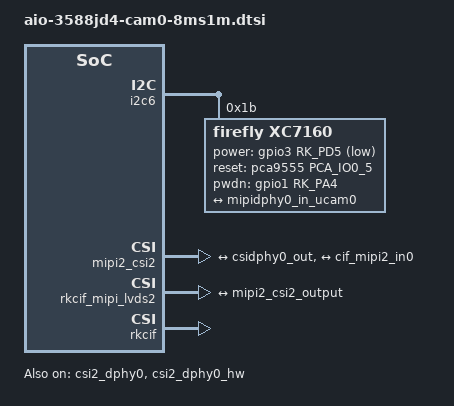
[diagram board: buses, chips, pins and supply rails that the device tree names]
// SPDX-License-Identifier: (GPL-2.0+ OR MIT)
/*
 * Copyright (c) 2021 Rockchip Electronics Co., Ltd.
 *
 */

&i2c6 {
	status = "okay";

        XC7160: XC7160b@1b{
               compatible = "firefly,xc7160";
               reg = <0x1b>;
               clocks = <&cru CLK_MIPI_CAMARAOUT_M1>;
               clock-names = "xvclk";
               pinctrl-names = "default";
               pinctrl-0 = <&mipim1_camera1_clk>;
               power-domains = <&power RK3588_PD_VI>;

               power-gpios = <&gpio3 RK_PD5 GPIO_ACTIVE_LOW>;
               reset-gpios = <&pca9555 PCA_IO0_5 GPIO_ACTIVE_HIGH>;
               pwdn-gpios = <&gpio1 RK_PA4 GPIO_ACTIVE_HIGH>;
	       #define FF_COMPATIBLE
               //avdd-supply = <&vcc_mipidcphy0>;
               firefly,clkout-enabled-index = <0>;
               rockchip,camera-module-index = <0>;
               rockchip,camera-module-facing = "back";
               rockchip,camera-module-name = "NC";
               rockchip,camera-module-lens-name = "NC";
               port {
                        xc7160_out0: endpoint {
                               remote-endpoint = <&mipidphy0_in_ucam0>;
                               data-lanes = <1 2 3 4>;
                       };
               };
       };

};

&csi2_dphy0 {
	status = "okay";
#ifdef FF_COMPATIBLE 
	firefly-compatible;
#endif
	ports {
		#address-cells = <1>;
		#size-cells = <0>;
		port@0 {
			reg = <0>;
			#address-cells = <1>;
			#size-cells = <0>;

			mipidphy0_in_ucam0: endpoint@0 {
				reg = <0>;
				remote-endpoint = <&xc7160_out0>;
				data-lanes = <1 2 3 4>;
			};
		};
		port@1 {
			reg = <1>;
			#address-cells = <1>;
			#size-cells = <0>;

			csidphy0_out: endpoint@0 {
				reg = <0>;
				remote-endpoint = <&mipi2_csi2_input0>;
			};
		};
	};
};

&csi2_dphy0_hw {
	status = "okay";
};


&mipi2_csi2 {
	status = "okay";
#ifdef FF_COMPATIBLE
	firefly-compatible;
#endif
	ports {
		#address-cells = <1>;
		#size-cells = <0>;

		port@0 {
			reg = <0>;
			#address-cells = <1>;
			#size-cells = <0>;

			mipi2_csi2_input0: endpoint@0 {
				reg = <0>;
				remote-endpoint = <&csidphy0_out>;
			};
		};

		port@1 {
			reg = <1>;
			#address-cells = <1>;
			#size-cells = <0>;

			mipi2_csi2_output: endpoint@0 {
				reg = <0>;
				remote-endpoint = <&cif_mipi2_in0>;
			};
		};
	};
};

&rkcif_mipi_lvds2 {
	status = "okay";

	port {
		cif_mipi2_in0: endpoint {
			remote-endpoint = <&mipi2_csi2_output>;
		};
	};
};

&rkcif {
	status = "okay";
};

&rkcif_mmu {
	status = "okay";
};
